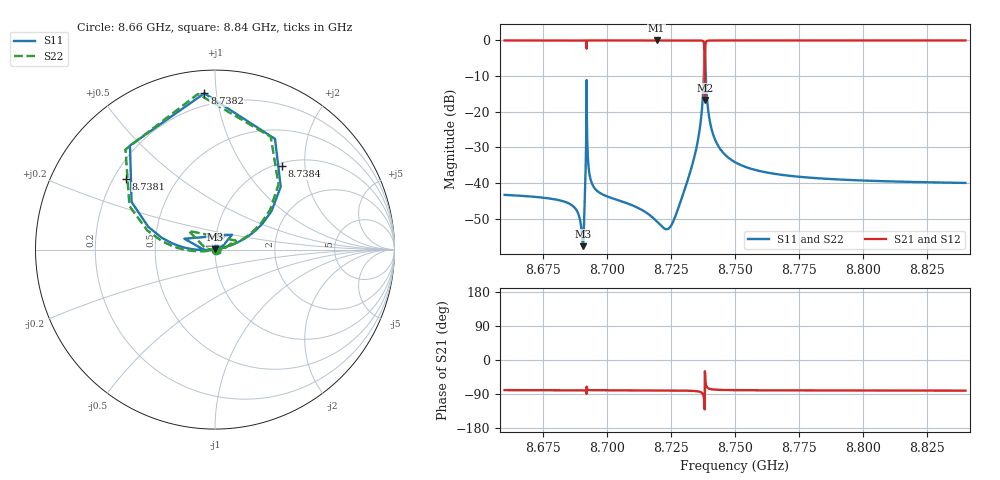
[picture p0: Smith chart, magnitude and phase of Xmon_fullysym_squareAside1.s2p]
! Sonnet Data File
! From: emgraph Version : 16.52
! From Emgraph Data: 171117_Xmon_fullysym_trail
! Data File Written: 11/21/2017 21:51:37
!< HDATE 11/21/2017 20:18:41
!< MDATE 11/21/2017 20:18:41
!< PARAMS
!< Lj = 11.0
!< Width = 10.0
!< END PARAMS
# GHZ S MA R 50.90000
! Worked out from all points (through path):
!   3601 points, 8.66 GHz to 8.84 GHz, reference 50.9 ohm
!   highest |S21| = 0.00 dB at 8.7194 GHz (marker M1); lowest = -16.7 dB at 8.7382 GHz (marker M2)
!   lowest |S11| = -57.7 dB at 8.6906 GHz (marker M3), VSWR 1.00, Z = 50.9 + j0.125 ohm
!   |S11| at or under -10 dB: start of sweep to 8.7378 GHz; 8.7386 GHz to end of sweep
!   |S22| runs from -58.9 to -1.2 dB; largest |S21 - S12| = 5.6e-10
!   S11 on the Smith chart (normalised r, x): 8.66 GHz: 1.01, +0.01; 8.7381 GHz: 0.25, +0.33; 8.7382 GHz: 0.13, +0.93; 8.7384 GHz: 1.06, +1.53; 8.84 GHz: 1.02, +0.01
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8.66  0.006836 27.6  1 -79.4  1 -79.4  0.006835 -6.4
!< P1 F=8.66 Eeff=(6.44844023 -2.9799e-5) Z0=(50.9085963 1.17006e-4) R=0.0 C=0.0
!< P2 F=8.66 Eeff=(6.44844012 -2.9799e-5) Z0=(50.9086403 1.17006e-4) R=0.0 C=0.0
8.6849  0.005231 31.5  1 -79.8  1 -79.8  0.005227 -10.9
8.69  0.002289 51.5  1 -80.0  1 -80.0  0.002244 -29.8
8.69065  0.001306 110.1  0.9999 -80.1  0.9999 -80.1  0.001137 -90.7
8.6918  0.02944 -171.3  0.9968 -81.8  0.9968 -81.8  0.0292 176.9
8.6925  0.02391 24.2  0.999 -78.7  0.999 -78.7  0.02383 1.8
8.6937  0.0109 25.7  0.9999 -79.5  0.9999 -79.5  0.01088 -4.0
8.6959  0.007918 27.9  1 -79.7  1 -79.7  0.007912 -7.1
8.71935  0.002928 59.0  1 -80.2  1 -80.2  0.002914 -39.2
8.72  0.002774 62.9  1 -80.3  1 -80.3  0.002758 -43.2
8.7248  0.002458 121.8  1 -80.4  1 -80.4  0.002429 -102.9
8.73135  0.01052 175.2  0.9999 -81.0  0.9999 -81.0  0.0105 -157.9
8.7357  0.04337 -177.6  0.9987 -83.0  0.9987 -83.0  0.04333 -169.3
8.73805  0.6351 141.5  0.6926 -119.5  0.6926 -119.5  0.6347 144.2
8.7382  0.8729 93.9  0.1464 -53.2  0.1464 -53.2  0.8723 96.2
8.73835  0.5953 51.2  0.7395 -44.3  0.7395 -44.3  0.5949 53.2
8.73915  0.1414 18.3  0.9874 -72.4  0.9874 -72.4  0.1413 18.9
8.74175  0.04494 13.9  0.9988 -78.0  0.9988 -78.0  0.04492 10.6
8.75  0.01966 15.9  0.9998 -79.5  0.9998 -79.5  0.01966 5.2
8.78  0.01186 19.5  0.9999 -80.2  0.9999 -80.2  0.01186 0.1
8.81  0.01058 20.5  0.9999 -80.6  0.9999 -80.6  0.01058 -1.6
8.84  0.01006 20.9  0.9999 -80.9  0.9999 -80.9  0.01006 -2.6
